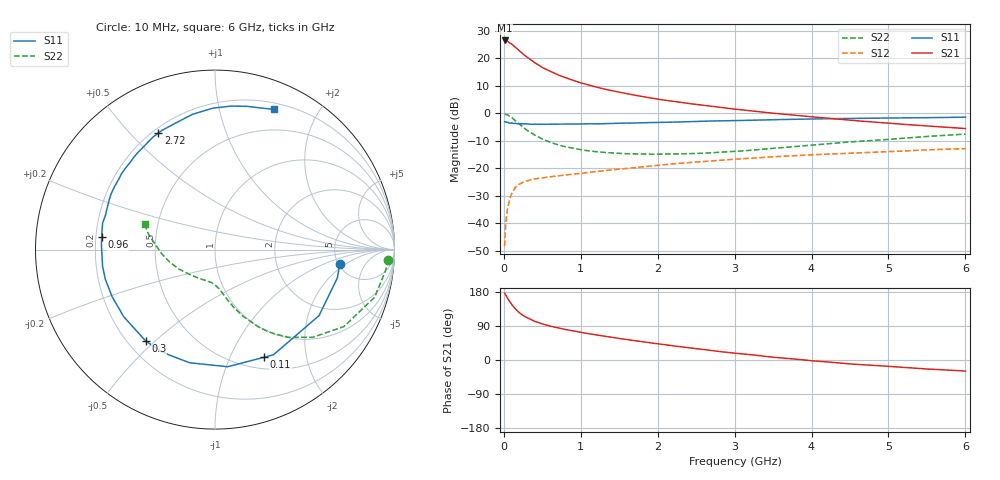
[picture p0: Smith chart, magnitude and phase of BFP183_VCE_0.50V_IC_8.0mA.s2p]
! Infineon Technologies  Discrete & RF Semiconductors
! BFP183
! VCE = 0.50V,  IC =  8.0 mA
! Common Emitter S-Parameters:  Jan 2016
# GHz  S  MA  R  50
!  f  S11  S21  S12  S22
! GHz  MAG  ANG  MAG  ANG  MAG  ANG  MAG  ANG
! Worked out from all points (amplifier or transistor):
!   210 points, 10 MHz to 6 GHz, reference 50 ohm
!   highest |S21| = 26.5 dB at 10 MHz (marker M1)
!   |S21| within 3 dB of that: start of sweep to 171.5 MHz
!   unconditionally stable (mu >= 1): 996.8 MHz to end of sweep
!   at 185 MHz: K = 0.26, MSG = 24.7 dB, |S12| = -26.2 dB
!   at 1.52 GHz: K = 1.20, MAG = 11.2 dB, |S12| = -20.3 dB
!   at 6 GHz: K = 1.15, MAG = 1.3 dB, |S12| = -12.9 dB
!   S11 on the Smith chart (normalised r, x): 10 MHz: 5.13, -1.62; 110 MHz: 0.64, -1.35; 300 MHz: 0.27, -0.47; 960 MHz: 0.22, +0.05; 2.72 GHz: 0.22, +0.60; 6 GHz: 0.27, +1.47
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0.01  0.6996 -6.6  21.09 176.6  0.0038 82.9  0.9672 -3.3
0.02  0.6997 -13.0  20.97 173.2  0.0078 84.3  0.9584 -6.8
0.05  0.6865 -32.4  20.34 162.2  0.0192 75.6  0.9282 -16.6
0.1  0.6705 -61.0  18.21 146.8  0.0339 61.5  0.8367 -30.8
0.11  0.6594 -65.4  17.68 144.6  0.036 59.2  0.8134 -32.8
0.15  0.6564 -83.8  15.88 134.4  0.0447 52.3  0.7316 -41.9
0.2  0.6461 -102.6  13.79 124.7  0.0511 45.9  0.6371 -50.1
0.24  0.6403 -113.7  12.27 118.9  0.0545 41.7  0.571 -55.0
0.3  0.6392 -127.1  10.49 111.5  0.0587 38.1  0.4902 -60.9
0.4  0.6313 -143.7  8.322 102.0  0.0636 34.1  0.4008 -67.3
0.5  0.6305 -155.5  6.803 95.1  0.0665 31.9  0.3393 -71.9
0.6  0.6329 -164.8  5.814 89.5  0.0696 31.3  0.2962 -75.4
0.7  0.6333 -171.5  5 84.8  0.0719 31.3  0.2658 -78.1
0.96  0.6352 173.6  3.725 74.6  0.0793 31.9  0.222 -83.6
1.02  0.6382 170.5  3.504 72.3  0.0809 32.0  0.2145 -85.1
1.5  0.6571 151.7  2.41 56.7  0.0961 33.2  0.1851 -95.8
2.02  0.677 134.7  1.783 42.2  0.1135 32.8  0.1799 -108.7
2.72  0.7218 116.0  1.319 24.5  0.1366 29.3  0.1914 -129.9
3.1  0.738 107.4  1.148 16.1  0.1485 27.0  0.206 -141.5
4.1  0.7906 89.3  0.836 -3.4  0.1774 19.9  0.2695 -167.5
5.1  0.8192 76.5  0.641 -18.1  0.202 13.3  0.3419 173.3
6  0.847 67.2  0.526 -29.2  0.2268 5.6  0.4167 160.3
